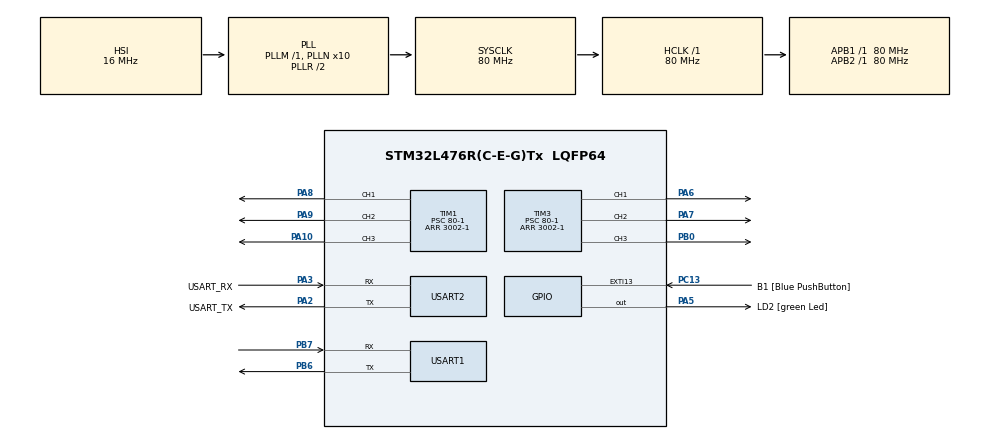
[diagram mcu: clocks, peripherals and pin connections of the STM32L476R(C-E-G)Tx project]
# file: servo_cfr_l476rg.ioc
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Mcu.Family=STM32L4
Mcu.Name=STM32L476R(C-E-G)Tx
Mcu.Package=LQFP64
NVIC.PriorityGroup=NVIC_PRIORITYGROUP_4
NVIC.USART1_IRQn=true\:0\:0\:false\:false\:true\:true\:true\:true
PA10.Signal=S_TIM1_CH3
PA13\ (JTMS-SWDIO).GPIO_Label=TMS
PA13\ (JTMS-SWDIO).Mode=Serial_Wire
PA13\ (JTMS-SWDIO).Signal=SYS_JTMS-SWDIO
PA14\ (JTCK-SWCLK).GPIO_Label=TCK
PA14\ (JTCK-SWCLK).Mode=Serial_Wire
PA14\ (JTCK-SWCLK).Signal=SYS_JTCK-SWCLK
PA2.GPIO_Label=USART_TX
PA2.GPIO_Mode=GPIO_MODE_AF_PP
PA2.GPIO_PuPd=GPIO_NOPULL
PA2.GPIO_Speed=GPIO_SPEED_FREQ_VERY_HIGH
PA2.Mode=Asynchronous
PA2.Signal=USART2_TX
PA3.GPIO_Label=USART_RX
PA3.GPIO_Mode=GPIO_MODE_AF_PP
PA3.GPIO_PuPd=GPIO_NOPULL
PA3.GPIO_Speed=GPIO_SPEED_FREQ_VERY_HIGH
PA3.Mode=Asynchronous
PA3.Signal=USART2_RX
PA5.GPIO_Label=LD2 [green Led]
PA5.GPIO_ModeDefaultOutputPP=GPIO_MODE_OUTPUT_PP
PA5.GPIO_PuPd=GPIO_NOPULL
PA5.GPIO_Speed=GPIO_SPEED_FREQ_LOW
PA5.Signal=GPIO_Output
PA6.Signal=S_TIM3_CH1
PA7.Signal=S_TIM3_CH2
PA8.Signal=S_TIM1_CH1
PA9.Signal=S_TIM1_CH2
PB0.Signal=S_TIM3_CH3
PB3\ (JTDO-TRACESWO).GPIO_Label=SWO
PB3\ (JTDO-TRACESWO).Signal=SYS_JTDO-SWO
PB6.Mode=Asynchronous
PB6.Signal=USART1_TX
PB7.Mode=Asynchronous
PB7.Signal=USART1_RX
PC13.GPIO_Label=B1 [Blue PushButton]
PC13.GPIO_ModeDefaultEXTI=GPIO_MODE_IT_FALLING
PC13.GPIO_PuPd=GPIO_NOPULL
PC13.Signal=GPXTI13
PC14-OSC32_IN\ (PC14).Mode=LSE-External-Oscillator
PC14-OSC32_IN\ (PC14).Signal=RCC_OSC32_IN
PC15-OSC32_OUT\ (PC15).Mode=LSE-External-Oscillator
PC15-OSC32_OUT\ (PC15).Signal=RCC_OSC32_OUT
PH0-OSC_IN\ (PH0).Signal=RCC_OSC_IN
PH1-OSC_OUT\ (PH1).Signal=RCC_OSC_OUT
ProjectManager.HeapSize=0x200
ProjectManager.StackSize=0x400
ProjectManager.TargetToolchain=STM32CubeIDE
RCC.ADCFreq_Value=64000000
RCC.AHBFreq_Value=80000000
RCC.APB1Freq_Value=80000000
RCC.APB1TimFreq_Value=80000000
RCC.APB2Freq_Value=80000000
RCC.APB2TimFreq_Value=80000000
RCC.CortexFreq_Value=80000000
RCC.HCLKFreq_Value=80000000
RCC.HSE_VALUE=8000000
RCC.HSI_VALUE=16000000
RCC.MSI_VALUE=4000000
RCC.PLLN=10
RCC.PLLSourceVirtual=RCC_PLLSOURCE_HSI
RCC.PREFETCH_ENABLE=1
RCC.SYSCLKFreq_VALUE=80000000
RCC.SYSCLKSource=RCC_SYSCLKSOURCE_PLLCLK
RCC.USBFreq_Value=64000000
RCC.VCOOutputFreq_Value=160000000
SH.S_TIM1_CH1.0=TIM1_CH1,PWM Generation1 CH1
SH.S_TIM1_CH2.0=TIM1_CH2,PWM Generation2 CH2
SH.S_TIM1_CH3.0=TIM1_CH3,PWM Generation3 CH3
SH.S_TIM3_CH1.0=TIM3_CH1,PWM Generation1 CH1
SH.S_TIM3_CH2.0=TIM3_CH2,PWM Generation2 CH2
SH.S_TIM3_CH3.0=TIM3_CH3,PWM Generation3 CH3
TIM1.Channel-PWM\ Generation1\ CH1=TIM_CHANNEL_1
TIM1.Channel-PWM\ Generation2\ CH2=TIM_CHANNEL_2
TIM1.Channel-PWM\ Generation3\ CH3=TIM_CHANNEL_3
TIM1.Period=3002-1
TIM1.Prescaler=80-1
TIM3.Channel-PWM\ Generation1\ CH1=TIM_CHANNEL_1
TIM3.Channel-PWM\ Generation2\ CH2=TIM_CHANNEL_2
TIM3.Channel-PWM\ Generation3\ CH3=TIM_CHANNEL_3
TIM3.Period=3002-1
TIM3.Prescaler=80-1
USART1.VirtualMode-Asynchronous=VM_ASYNC
USART2.VirtualMode-Asynchronous=VM_ASYNC
VP_TIM1_VS_ClockSourceINT.Mode=Internal
VP_TIM3_VS_ClockSourceINT.Mode=Internal
board=NUCLEO-L476RG

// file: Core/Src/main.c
/* USER CODE BEGIN Header */
/**
 ******************************************************************************
 * @file           : main.c
 * @brief          : Main program body
 ******************************************************************************
 * @attention
 *
 * Copyright (c) 2025 STMicroelectronics.
 * All rights reserved.
 *
 * This software is licensed under terms that can be found in the LICENSE file
 * in the root directory of this software component.
 * If no LICENSE file comes with this software, it is provided AS-IS.
 *
 ******************************************************************************
 */
/* USER CODE END Header */
#include "main.h"

/* USER CODE BEGIN Includes */
#include <stdlib.h>
#include <string.h>
#include <stdio.h>
/* USER CODE END Includes */

TIM_HandleTypeDef htim1;
TIM_HandleTypeDef htim3;

UART_HandleTypeDef huart1;
UART_HandleTypeDef huart2;

char rx_data[12];

#define SERVO_MIN_M 1200 // servo milieu
#define SERVO_MAX_M 2000

#define SERVO_MIN_G 1200
#define SERVO_MAX_G 2200

#define SERVO_MIN_D 1000
#define SERVO_MAX_D 1900
void SystemClock_Config(void);
static void MX_GPIO_Init(void);
static void MX_USART2_UART_Init(void);
static void MX_TIM1_Init(void);
static void MX_TIM3_Init(void);
static void MX_USART1_UART_Init(void);

int main(void)
{

	/* MCU Configuration--------------------------------------------------------*/

	/* Reset of all peripherals, Initializes the Flash interface and the Systick. */
	HAL_Init();

	/* Configure the system clock */
	SystemClock_Config();

	/* Initialize all configured peripherals */
	MX_GPIO_Init();
	MX_USART2_UART_Init();
	MX_TIM1_Init();
	MX_TIM3_Init();
	MX_USART1_UART_Init();
	/* USER CODE BEGIN 2 */
	HAL_TIM_PWM_Start(&htim3, TIM_CHANNEL_2);  // PA7 (première pince, milieu)
	HAL_TIM_PWM_Start(&htim3, TIM_CHANNEL_3);  // PB0 (première pince, droit)
	HAL_TIM_PWM_Start(&htim1, TIM_CHANNEL_1);  // PA8 (première pince, gauche)
	HAL_TIM_PWM_Start(&htim1, TIM_CHANNEL_2);  // PA9 (deuxième pince, milieu)
	HAL_TIM_PWM_Start(&htim1, TIM_CHANNEL_3);  // PA10 (deuxième pince, droit)
	HAL_TIM_PWM_Start(&htim3, TIM_CHANNEL_1);  // PA6 (deuxième pince, gauche)

	HAL_UART_Receive_IT(&huart1, (uint8_t *)rx_data, 12);
	/* USER CODE END 2 */

	/* Infinite loop */
	/* USER CODE BEGIN WHILE */
	while (1)
	{
		// Debug output
		char message[14]; // 12 caractères de rx_data + 2 pour "\r\n"
		memcpy(message, rx_data, 12); // Copy only the first 12 bytes
		message[12] = '\r'; // Ajouter retour chariot
		message[13] = '\n'; // Ajouter nouvelle ligne
		HAL_UART_Transmit(&huart2, (uint8_t *)message, sizeof(message), HAL_MAX_DELAY);

		// Première pince
		if (rx_data[0] == '0') { // PA7 (TIM3_CH2) milieu
			TIM3->CCR2 = SERVO_MAX_M;
		} else {
			TIM3->CCR2 = SERVO_MIN_M;
		}
		if (rx_data[1] == '0') { // PB0 (TIM3_CH3) droit
			TIM3->CCR3 = SERVO_MIN_D;
		} else {
			TIM3->CCR3 = SERVO_MAX_D;
		}
		HAL_Delay(100); // delai pour que les 2 pinces ne se touchent pas
		if (rx_data[2] == '0') { // PA8 (TIM1_CH1) gauche
			TIM1->CCR1 = SERVO_MAX_G;
		} else {
			TIM1->CCR1 = SERVO_MIN_G;
		}

		// Deuxième pince
		if (rx_data[3] == '0') { // PA9 (TIM1_CH2) milieu
			TIM1->CCR2 = SERVO_MAX_M;
		} else {
			TIM1->CCR2 = SERVO_MIN_M;
		}
		if (rx_data[4] == '0') { // PA10 (TIM1_CH3) droit
			TIM1->CCR3 = SERVO_MIN_D;
		} else {
			TIM1->CCR3 = SERVO_MAX_D;
		}
		HAL_Delay(100); // delai pour que les 2 pinces ne se touchent pas
		if (rx_data[5] == '0') { // PA6 (TIM3_CH1) gauche
			TIM3->CCR1 = SERVO_MAX_G;
		} else {
			TIM3->CCR1 = SERVO_MIN_G;
		}
		/* USER CODE END WHILE */

	}
}

void SystemClock_Config(void)
{
	RCC_OscInitTypeDef RCC_OscInitStruct = {0};
	RCC_ClkInitTypeDef RCC_ClkInitStruct = {0};

	/** Configure the main internal regulator output voltage
	 */
	if (HAL_PWREx_ControlVoltageScaling(PWR_REGULATOR_VOLTAGE_SCALE1) != HAL_OK)
	{
		Error_Handler();
	}

	/** Initializes the RCC Oscillators according to the specified parameters
	 * in the RCC_OscInitTypeDef structure.
	 */
	RCC_OscInitStruct.OscillatorType = RCC_OSCILLATORTYPE_HSI;
	RCC_OscInitStruct.HSIState = RCC_HSI_ON;
	RCC_OscInitStruct.HSICalibrationValue = RCC_HSICALIBRATION_DEFAULT;
	RCC_OscInitStruct.PLL.PLLState = RCC_PLL_ON;
	RCC_OscInitStruct.PLL.PLLSource = RCC_PLLSOURCE_HSI;
	RCC_OscInitStruct.PLL.PLLM = 1;
	RCC_OscInitStruct.PLL.PLLN = 10;
	RCC_OscInitStruct.PLL.PLLP = RCC_PLLP_DIV7;
	RCC_OscInitStruct.PLL.PLLQ = RCC_PLLQ_DIV2;
	RCC_OscInitStruct.PLL.PLLR = RCC_PLLR_DIV2;
	if (HAL_RCC_OscConfig(&RCC_OscInitStruct) != HAL_OK)
	{
		Error_Handler();
	}

	/** Initializes the CPU, AHB and APB buses clocks
	 */
	RCC_ClkInitStruct.ClockType = RCC_CLOCKTYPE_HCLK|RCC_CLOCKTYPE_SYSCLK
			|RCC_CLOCKTYPE_PCLK1|RCC_CLOCKTYPE_PCLK2;
	RCC_ClkInitStruct.SYSCLKSource = RCC_SYSCLKSOURCE_PLLCLK;
	RCC_ClkInitStruct.AHBCLKDivider = RCC_SYSCLK_DIV1;
	RCC_ClkInitStruct.APB1CLKDivider = RCC_HCLK_DIV1;
	RCC_ClkInitStruct.APB2CLKDivider = RCC_HCLK_DIV1;

	if (HAL_RCC_ClockConfig(&RCC_ClkInitStruct, FLASH_LATENCY_4) != HAL_OK)
	{
		Error_Handler();
	}
}

static void MX_TIM1_Init(void)
{

	TIM_ClockConfigTypeDef sClockSourceConfig = {0};
	TIM_MasterConfigTypeDef sMasterConfig = {0};
	TIM_OC_InitTypeDef sConfigOC = {0};
	TIM_BreakDeadTimeConfigTypeDef sBreakDeadTimeConfig = {0};

	htim1.Instance = TIM1;
	htim1.Init.Prescaler = 80-1;
	htim1.Init.CounterMode = TIM_COUNTERMODE_UP;
	htim1.Init.Period = 3002-1;
	htim1.Init.ClockDivision = TIM_CLOCKDIVISION_DIV1;
	htim1.Init.RepetitionCounter = 0;
	htim1.Init.AutoReloadPreload = TIM_AUTORELOAD_PRELOAD_DISABLE;
	if (HAL_TIM_Base_Init(&htim1) != HAL_OK)
	{
		Error_Handler();
	}
	sClockSourceConfig.ClockSource = TIM_CLOCKSOURCE_INTERNAL;
	if (HAL_TIM_ConfigClockSource(&htim1, &sClockSourceConfig) != HAL_OK)
	{
		Error_Handler();
	}
	if (HAL_TIM_PWM_Init(&htim1) != HAL_OK)
	{
		Error_Handler();
	}
	sMasterConfig.MasterOutputTrigger = TIM_TRGO_RESET;
	sMasterConfig.MasterOutputTrigger2 = TIM_TRGO2_RESET;
	sMasterConfig.MasterSlaveMode = TIM_MASTERSLAVEMODE_DISABLE;
	if (HAL_TIMEx_MasterConfigSynchronization(&htim1, &sMasterConfig) != HAL_OK)
	{
		Error_Handler();
	}
	sConfigOC.OCMode = TIM_OCMODE_PWM1;
	sConfigOC.Pulse = 0;
	sConfigOC.OCPolarity = TIM_OCPOLARITY_HIGH;
	sConfigOC.OCNPolarity = TIM_OCNPOLARITY_HIGH;
	sConfigOC.OCFastMode = TIM_OCFAST_DISABLE;
	sConfigOC.OCIdleState = TIM_OCIDLESTATE_RESET;
	sConfigOC.OCNIdleState = TIM_OCNIDLESTATE_RESET;
	if (HAL_TIM_PWM_ConfigChannel(&htim1, &sConfigOC, TIM_CHANNEL_1) != HAL_OK)
	{
		Error_Handler();
	}
	if (HAL_TIM_PWM_ConfigChannel(&htim1, &sConfigOC, TIM_CHANNEL_2) != HAL_OK)
	{
		Error_Handler();
	}
	if (HAL_TIM_PWM_ConfigChannel(&htim1, &sConfigOC, TIM_CHANNEL_3) != HAL_OK)
	{
		Error_Handler();
	}
	sBreakDeadTimeConfig.OffStateRunMode = TIM_OSSR_DISABLE;
	sBreakDeadTimeConfig.OffStateIDLEMode = TIM_OSSI_DISABLE;
	sBreakDeadTimeConfig.LockLevel = TIM_LOCKLEVEL_OFF;
	sBreakDeadTimeConfig.DeadTime = 0;
	sBreakDeadTimeConfig.BreakState = TIM_BREAK_DISABLE;
	sBreakDeadTimeConfig.BreakPolarity = TIM_BREAKPOLARITY_HIGH;
	sBreakDeadTimeConfig.BreakFilter = 0;
	sBreakDeadTimeConfig.Break2State = TIM_BREAK2_DISABLE;
	sBreakDeadTimeConfig.Break2Polarity = TIM_BREAK2POLARITY_HIGH;
	sBreakDeadTimeConfig.Break2Filter = 0;
	sBreakDeadTimeConfig.AutomaticOutput = TIM_AUTOMATICOUTPUT_DISABLE;
	if (HAL_TIMEx_ConfigBreakDeadTime(&htim1, &sBreakDeadTimeConfig) != HAL_OK)
	{
		Error_Handler();
	}
	HAL_TIM_MspPostInit(&htim1);

}

static void MX_TIM3_Init(void)
{

	TIM_ClockConfigTypeDef sClockSourceConfig = {0};
	TIM_MasterConfigTypeDef sMasterConfig = {0};
	TIM_OC_InitTypeDef sConfigOC = {0};

	htim3.Instance = TIM3;
	htim3.Init.Prescaler = 80-1;
	htim3.Init.CounterMode = TIM_COUNTERMODE_UP;
	htim3.Init.Period = 3002-1;
	htim3.Init.ClockDivision = TIM_CLOCKDIVISION_DIV1;
	htim3.Init.AutoReloadPreload = TIM_AUTORELOAD_PRELOAD_DISABLE;
	if (HAL_TIM_Base_Init(&htim3) != HAL_OK)
	{
		Error_Handler();
	}
	sClockSourceConfig.ClockSource = TIM_CLOCKSOURCE_INTERNAL;
	if (HAL_TIM_ConfigClockSource(&htim3, &sClockSourceConfig) != HAL_OK)
	{
		Error_Handler();
	}
	if (HAL_TIM_PWM_Init(&htim3) != HAL_OK)
	{
		Error_Handler();
	}
	sMasterConfig.MasterOutputTrigger = TIM_TRGO_RESET;
	sMasterConfig.MasterSlaveMode = TIM_MASTERSLAVEMODE_DISABLE;
	if (HAL_TIMEx_MasterConfigSynchronization(&htim3, &sMasterConfig) != HAL_OK)
	{
		Error_Handler();
	}
	sConfigOC.OCMode = TIM_OCMODE_PWM1;
	sConfigOC.Pulse = 0;
	sConfigOC.OCPolarity = TIM_OCPOLARITY_HIGH;
	sConfigOC.OCFastMode = TIM_OCFAST_DISABLE;
	if (HAL_TIM_PWM_ConfigChannel(&htim3, &sConfigOC, TIM_CHANNEL_1) != HAL_OK)
	{
		Error_Handler();
	}
	if (HAL_TIM_PWM_ConfigChannel(&htim3, &sConfigOC, TIM_CHANNEL_2) != HAL_OK)
	{
		Error_Handler();
	}
	if (HAL_TIM_PWM_ConfigChannel(&htim3, &sConfigOC, TIM_CHANNEL_3) != HAL_OK)
	{
		Error_Handler();
	}
	HAL_TIM_MspPostInit(&htim3);

}

static void MX_USART1_UART_Init(void)
{

	huart1.Instance = USART1;
	huart1.Init.BaudRate = 115200;
	huart1.Init.WordLength = UART_WORDLENGTH_8B;
	huart1.Init.StopBits = UART_STOPBITS_1;
	huart1.Init.Parity = UART_PARITY_NONE;
	huart1.Init.Mode = UART_MODE_TX_RX;
	huart1.Init.HwFlowCtl = UART_HWCONTROL_NONE;
	huart1.Init.OverSampling = UART_OVERSAMPLING_16;
	huart1.Init.OneBitSampling = UART_ONE_BIT_SAMPLE_DISABLE;
	huart1.AdvancedInit.AdvFeatureInit = UART_ADVFEATURE_NO_INIT;
	if (HAL_UART_Init(&huart1) != HAL_OK)
	{
		Error_Handler();
	}

}

static void MX_USART2_UART_Init(void)
{

	huart2.Instance = USART2;
	huart2.Init.BaudRate = 115200;
	huart2.Init.WordLength = UART_WORDLENGTH_8B;
	huart2.Init.StopBits = UART_STOPBITS_1;
	huart2.Init.Parity = UART_PARITY_NONE;
	huart2.Init.Mode = UART_MODE_TX_RX;
	huart2.Init.HwFlowCtl = UART_HWCONTROL_NONE;
	huart2.Init.OverSampling = UART_OVERSAMPLING_16;
	huart2.Init.OneBitSampling = UART_ONE_BIT_SAMPLE_DISABLE;
	huart2.AdvancedInit.AdvFeatureInit = UART_ADVFEATURE_NO_INIT;
	if (HAL_UART_Init(&huart2) != HAL_OK)
	{
		Error_Handler();
	}

}

static void MX_GPIO_Init(void)
{
	GPIO_InitTypeDef GPIO_InitStruct = {0};

	/* GPIO Ports Clock Enable */
	__HAL_RCC_GPIOC_CLK_ENABLE();
	__HAL_RCC_GPIOH_CLK_ENABLE();
	__HAL_RCC_GPIOA_CLK_ENABLE();
	__HAL_RCC_GPIOB_CLK_ENABLE();

	/*Configure GPIO pin Output Level */
	HAL_GPIO_WritePin(LD2_GPIO_Port, LD2_Pin, GPIO_PIN_RESET);

	/*Configure GPIO pin : B1_Pin */
	GPIO_InitStruct.Pin = B1_Pin;
	GPIO_InitStruct.Mode = GPIO_MODE_IT_FALLING;
	GPIO_InitStruct.Pull = GPIO_NOPULL;
	HAL_GPIO_Init(B1_GPIO_Port, &GPIO_InitStruct);

	/*Configure GPIO pin : LD2_Pin */
	GPIO_InitStruct.Pin = LD2_Pin;
	GPIO_InitStruct.Mode = GPIO_MODE_OUTPUT_PP;
	GPIO_InitStruct.Pull = GPIO_NOPULL;
	GPIO_InitStruct.Speed = GPIO_SPEED_FREQ_LOW;
	HAL_GPIO_Init(LD2_GPIO_Port, &GPIO_InitStruct);

}

/* USER CODE BEGIN 4 */
void HAL_UART_RxCpltCallback(UART_HandleTypeDef *huart)
{
  if (huart == &huart1)
  {
    HAL_UART_Receive_IT(&huart1, (uint8_t *)rx_data,sizeof(rx_data)); // Relancer la réception
  }
}
/* USER CODE END 4 */

void Error_Handler(void)
{
	__disable_irq();
	while (1)
	{
	}
}
